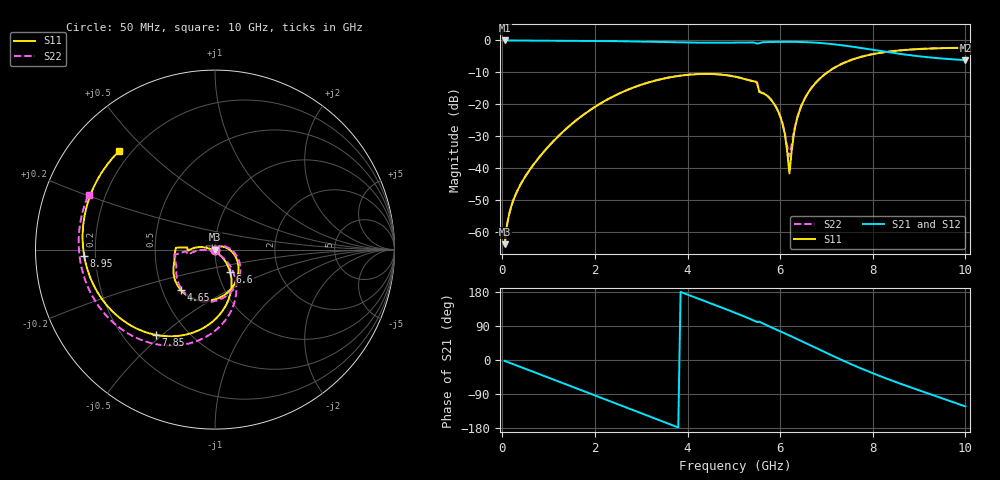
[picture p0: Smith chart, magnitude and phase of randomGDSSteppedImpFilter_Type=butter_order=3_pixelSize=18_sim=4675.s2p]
! freq	dB(S11)	phase(S11)	dB(S12)	phase(S12)
!  dB(S21)	phase(S21)	dB(S22)	phase(S22)
!S-par simulation data
#  GHz  S  DB  R 50
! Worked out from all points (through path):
!   200 points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, 50 MHz to 10 GHz, reference 50 ohm
!   highest |S21| = 0.00 dB at 50 MHz (marker M1); lowest = -6.2 dB at 10 GHz (marker M2)
!   group delay of S21, straight-line fit = 137 ps
!   lowest |S11| = -63.7 dB at 50 MHz (marker M3), VSWR 1.00, Z = 50 + j0.0432 ohm
!   |S11| at or under -10 dB: start of sweep to 7.019 GHz
!   |S22| runs from -64.4 to -2.3 dB; largest |S21 - S12| = 0
!   S11 on the Smith chart (normalised r, x): 50 MHz: 1.00, +0.00; 4.65 GHz: 0.62, -0.31; 6.6 GHz: 1.14, -0.29; 7.85 GHz: 0.33, -0.48; 8.95 GHz: 0.16, -0.02; 10 GHz: 0.16, +0.41
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0.05  -63.75 41.6  -0.00 -2.4  -0.00 -2.4  -64.36 43.0
0.1  -57.77 61.5  -0.01 -4.7  -0.01 -4.7  -57.96 62.6
0.2  -51.61 69.6  -0.01 -9.4  -0.01 -9.4  -51.65 71.3
0.45  -43.66 65.7  -0.03 -21.0  -0.03 -21.0  -43.65 69.0
1.75  -23.29 6.6  -0.11 -81.7  -0.11 -81.7  -23.25 11.7
2.5  -16.78 -29.2  -0.23 -117.1  -0.23 -117.1  -16.76 -24.1
3.4  -12.21 -71.8  -0.48 -159.4  -0.48 -159.4  -12.19 -66.3
4  -10.76 -99.6  -0.64 172.7  -0.64 172.7  -10.74 -93.7
4.65  -10.60 -129.7  -0.71 142.5  -0.71 142.5  -10.58 -122.9
5.05  -11.40 -148.6  -0.67 123.5  -0.67 123.5  -11.38 -141.0
5.5  -13.24 177.2  -0.98 100.3  -0.98 100.3  -12.99 -172.8
5.9  -20.58 171.7  -0.45 81.3  -0.45 81.3  -20.52 -177.1
6.1  -29.24 169.5  -0.42 70.3  -0.42 70.3  -28.80 -171.9
6.2  -41.61 -122.2  -0.42 64.7  -0.42 64.7  -36.30 -110.5
6.35  -25.36 -46.8  -0.44 56.2  -0.44 56.2  -24.98 -45.9
6.6  -16.49 -55.8  -0.56 41.9  -0.56 41.9  -16.38 -49.9
6.7  -14.44 -61.0  -0.63 36.1  -0.63 36.1  -14.35 -54.3
7.2  -8.31 -89.2  -1.27 7.3  -1.27 7.3  -8.25 -80.1
7.85  -4.76 -124.6  -2.59 -27.5  -2.59 -27.5  -4.71 -113.1
8.35  -3.49 -149.5  -3.71 -51.5  -3.71 -51.5  -3.44 -136.0
8.95  -2.74 -177.3  -4.87 -77.8  -4.87 -77.8  -2.69 -161.1
10  -2.32 134.2  -6.15 -122.5  -6.15 -122.5  -2.29 156.6
